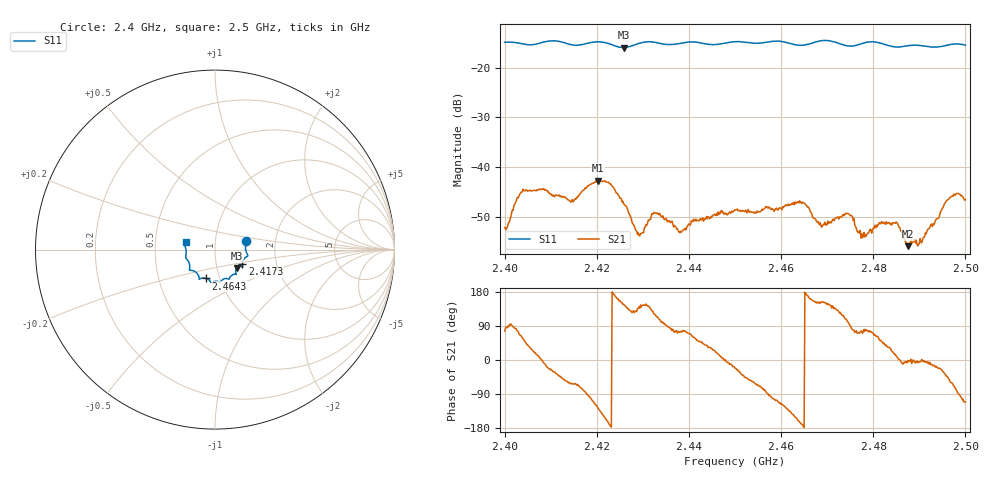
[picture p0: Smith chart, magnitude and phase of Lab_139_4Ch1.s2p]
# Hz S RI R 50
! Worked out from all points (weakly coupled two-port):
!   601 points, 2.4 GHz to 2.5 GHz, reference 50 ohm
!   highest |S21| = -42.69 dB at 2.4203 GHz (marker M1); lowest = -55.9 dB at 2.4875 GHz (marker M2)
!   lowest |S11| = -15.9 dB at 2.4258 GHz (marker M3), VSWR 1.38, Z = 62.3 - j13.2 ohm
!   |S11| at or under -10 dB: start of sweep to end of sweep
!   S12 and S22 are empty: the file has one direction only
!   S11 on the Smith chart (normalised r, x): 2.4 GHz: 1.41, +0.14; 2.4173 GHz: 1.34, -0.23; 2.4643 GHz: 0.86, -0.28; 2.5 GHz: 0.72, +0.06
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2.4e9  0.1734 0.0492  0.000583 0.00239  0 0  0 0
2.404167e9  0.1714 0.0231  0.00345 0.00467  0 0  0 0
2.4145e9  0.1627 -0.0509  0.00212 -0.00402  0 0  0 0
2.416667e9  0.1532 -0.0748  0.00152 -0.00541  0 0  0 0
2.417333e9  0.1524 -0.0822  0.000784 -0.00588  0 0  0 0
2.420333e9  0.1541 -0.0977  -0.0045 -0.00579  0 0  0 0
2.425833e9  0.1215 -0.1034  -0.00357 0.00234  0 0  0 0
2.429167e9  0.116 -0.132  -0.00158 0.00131  0 0  0 0
2.433333e9  0.1128 -0.1369  -0.00121 0.00314  0 0  0 0
2.438167e9  0.0823 -0.1555  0.000567 0.00219  0 0  0 0
2.45e9  0.0295 -0.1805  0.00347 -0.00137  0 0  0 0
2.464333e9  -0.0499 -0.1606  -0.00435 -0.000908  0 0  0 0
2.466667e9  -0.0757 -0.1596  -0.00318 0.00124  0 0  0 0
2.469167e9  -0.0874 -0.1665  -0.00234 0.00118  0 0  0 0
2.474833e9  -0.1046 -0.128  -0.000168 0.00332  0 0  0 0
2.477833e9  -0.1336 -0.1158  0.000548 0.00195  0 0  0 0
2.483333e9  -0.1408 -0.0899  0.00232 0.00153  0 0  0 0
2.485333e9  -0.1461 -0.069  0.00267 0.000237  0 0  0 0
2.4875e9  -0.1578 -0.0536  0.0016 -3.74e-05  0 0  0 0
2.490167e9  -0.1623 -0.0399  0.0019 -0.000176  0 0  0 0
2.497e9  -0.1701 0.0262  0.00249 -0.00441  0 0  0 0
2.5e9  -0.1637 0.042  -0.00171 -0.00441  0 0  0 0
